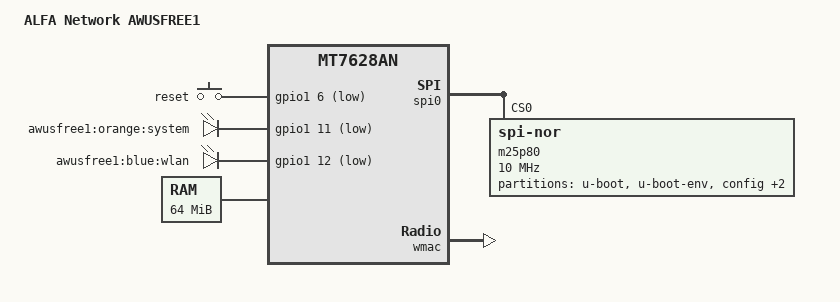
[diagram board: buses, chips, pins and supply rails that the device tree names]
/*
 *  BSD LICENSE
 *
 *  Copyright (C) 2018 Piotr Dymacz <pepe2k@gmail.com>
 *  All rights reserved.
 *
 *  Redistribution and use in source and binary forms, with or without
 *  modification, are permitted provided that the following conditions
 *  are met:
 *
 *    1. Redistributions of source code must retain the above copyright
 *       notice, this list of conditions and the following disclaimer.
 *    2. Redistributions in binary form must reproduce the above copyright
 *       notice, this list of conditions and the following disclaimer in the
 *       documentation and/or other materials provided with the distribution.
 *    3. Neither the names of the copyright holders nor the names of any
 *       contributors may be used to endorse or promote products derived
 *       from this software without specific prior written permission.
 *
 *  THIS SOFTWARE IS PROVIDED BY THE COPYRIGHT HOLDERS AND CONTRIBUTORS
 *  "AS IS" AND ANY EXPRESS OR IMPLIED WARRANTIES, INCLUDING, BUT NOT
 *  LIMITED TO, THE IMPLIED WARRANTIES OF MERCHANTABILITY AND FITNESS FOR
 *  A PARTICULAR PURPOSE ARE DISCLAIMED. IN NO EVENT SHALL THE COPYRIGHT
 *  HOLDER OR CONTRIBUTORS BE LIABLE FOR ANY DIRECT, INDIRECT, INCIDENTAL,
 *  SPECIAL, EXEMPLARY, OR CONSEQUENTIAL DAMAGES (INCLUDING, BUT NOT
 *  LIMITED TO, PROCUREMENT OF SUBSTITUTE GOODS OR SERVICES; LOSS OF USE,
 *  DATA, OR PROFITS; OR BUSINESS INTERRUPTION) HOWEVER CAUSED AND ON ANY
 *  THEORY OF LIABILITY, WHETHER IN CONTRACT, STRICT LIABILITY, OR TORT
 *  (INCLUDING NEGLIGENCE OR OTHERWISE) ARISING IN ANY WAY OUT OF THE USE
 *  OF THIS SOFTWARE, EVEN IF ADVISED OF THE POSSIBILITY OF SUCH DAMAGE.
 */

/dts-v1/;

#include "mt7628an.dtsi"

#include <dt-bindings/gpio/gpio.h>
#include <dt-bindings/input/input.h>

/ {
	compatible = "alfa-network,awusfree1", "mediatek,mt7628an-soc";
	model = "ALFA Network AWUSFREE1";

	aliases {
		led-status = &led_system;
	};

	chosen {
		bootargs = "console=ttyS0,115200";
	};

	gpio-keys-polled {
		compatible = "gpio-keys-polled";
		poll-interval = <20>;

		reset {
			label = "reset";
			gpios = <&gpio1 6 GPIO_ACTIVE_LOW>;
			linux,code = <KEY_RESTART>;
		};
	};

	gpio-leds {
		compatible = "gpio-leds";

		led_system: system {
			label = "awusfree1:orange:system";
			gpios = <&gpio1 11 GPIO_ACTIVE_LOW>;
		};

		wlan {
			label = "awusfree1:blue:wlan";
			gpios = <&gpio1 12 GPIO_ACTIVE_LOW>;
		};
	};

	memory@0 {
		device_type = "memory";
		reg = <0x0 0x4000000>;
	};
};

&ehci {
	status = "disabled";
};

&esw {
	mediatek,portdisable = <0x1e>;
};

&ethernet {
	mtd-mac-address = <&factory 0x2e>;
};

&gpio1 {
	status = "okay";
};

&ohci {
	status = "disabled";
};

&pinctrl {
	state_default: pinctrl0 {
		gpio {
			ralink,group = "p0led_an", "wdt", "wled_an";
			ralink,function = "gpio";
		};

		ext_lna {
			ralink,group = "uart1";
			ralink,function = "sw_r";
		};

		ext_pa {
			ralink,group = "i2s";
			ralink,function = "antenna";
		};
	};
};

&spi0 {
	status = "okay";

	m25p80@0 {
		compatible = "jedec,spi-nor";
		reg = <0>;
		spi-max-frequency = <10000000>;
		m25p,chunked-io = <32>;

		partitions {
			compatible = "fixed-partitions";
			#address-cells = <1>;
			#size-cells = <1>;

			partition@0 {
				label = "u-boot";
				reg = <0x0 0x30000>;
				read-only;
			};

			partition@30000 {
				label = "u-boot-env";
				reg = <0x30000 0x1000>;
			};

			partition@31000 {
				label = "config";
				reg = <0x31000 0xf000>;
				read-only;
			};

			factory: partition@40000 {
				label = "factory";
				reg = <0x40000 0x10000>;
				read-only;
			};

			partition@50000 {
				label = "firmware";
				reg = <0x50000 0x7b0000>;
			};
		};
	};
};

&wmac {
	status = "okay";
	mediatek,mtd-eeprom = <&factory 0x0>;
};
